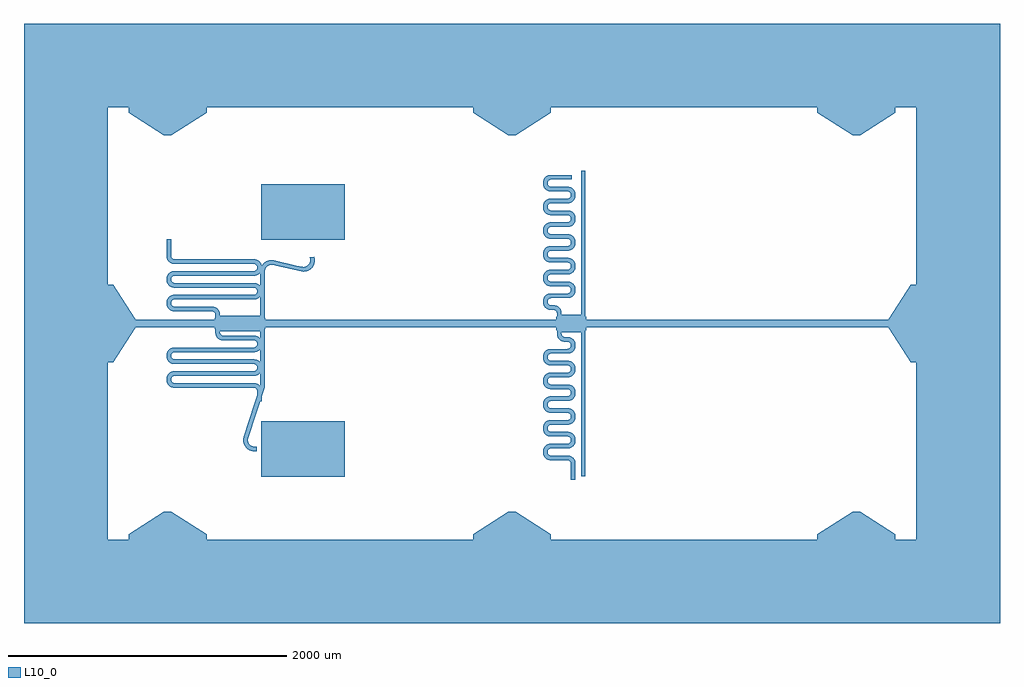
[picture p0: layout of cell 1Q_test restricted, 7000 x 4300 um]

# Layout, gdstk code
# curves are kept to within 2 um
import gdstk
lib = gdstk.Library(unit=1e-6, precision=1e-09)
def R(c, l, rs):  # rectangles x0, y0, x1, y1
    for r in rs: c.add(gdstk.rectangle(r[:2], r[2:], *l))
def P(c, l, *ps):  # polygons
    for p in ps: c.add(gdstk.Polygon(p, *l))
L10_0 = (10, 0)

c_1q_test_restricted = lib.new_cell('1Q_test restricted')
R(c_1q_test_restricted, L10_0, [(3923,1028,3955,1058), (3923,1028,3955,1058), (1700,1050,2300,1450), (1700,1050,2300,1450), (1700,1050,2300,1450), (3995,1056,4027,1086), (3995,1056,4027,1086), (3995,1086,4027,2086), (3995,1086,4027,2086), (1673,1594,1705,1624), (1673,1594,1705,1624), (3850,2086,4000,2214), (3850,2086,4000,2214), (1400,2096,1700,2204), (1400,2096,1700,2204), (3818,2101,3828,2199), (3818,2101,3828,2199), (4022,2101,4032,2199), (4022,2101,4032,2199), (1368,2111,1378,2189), (1368,2111,1378,2189), (1722,2111,1732,2189), (1722,2111,1732,2189), (800,2123,1368,2177), (800,2123,1368,2177), (1732,2123,3818,2177), (1732,2123,3818,2177), (4032,2123,6200,2177), (4032,2123,6200,2177), (3995,2214,4027,3214), (3995,2214,4027,3214), (1023,2726,1055,2756), (1023,2726,1055,2756), (1700,2750,2300,3150), (1700,2750,2300,3150), (1700,2750,2300,3150), (3898.867,3183,3928.867,3215), (3898.867,3183,3928.867,3215), (3995,3214,4027,3244), (3995,3214,4027,3244)])
P(c_1q_test_restricted, L10_0, [(7000,0),(7000,4300),(0,4300),(0,1871),(132,1871),(132,2429),(600,2429),(600,3700),(751,3700),(751,4168),(1309,4168),(1309,3700),(3221,3700),(3221,4168),(3779,4168),(3779,3700),(5691,3700),(5691,4168),(6249,4168),(6249,3700),(6400,3700),(6400,2429),(6868,2429),(6868,1871),(6400,1871),(6400,600),(6249,600),(6249,132),(5691,132),(5691,600),(3779,600),(3779,132),(3221,132),(3221,600),(1309,600),(1309,132),(751,132),(751,600),(600,600),(600,1871),(132,1871),(0,1871),(0,0)],
  [(800,2123),(800,2177),(640,2429),(132,2429),(132,1871),(640,1871)],
  [(6200,2177),(6200,2123),(6360,1871),(6868,1871),(6868,2429),(6360,2429)],
  [(1057,800),(1003,800),(751,640),(751,132),(1309,132),(1309,640)],
  [(1003,3500),(1057,3500),(1309,3660),(1309,4168),(751,4168),(751,3660)],
  [(3527,800),(3473,800),(3221,640),(3221,132),(3779,132),(3779,640)],
  [(3473,3500),(3527,3500),(3779,3660),(3779,4168),(3221,4168),(3221,3660)],
  [(5997,800),(5943,800),(5691,640),(5691,132),(6249,132),(6249,640)],
  [(5943,3500),(5997,3500),(6249,3660),(6249,4168),(5691,4168),(5691,3660)],
  [(7000,0),(7000,4300),(0,4300),(0,1871),(132,1871),(132,2429),(600,2429),(600,3700),(751,3700),(751,4168),(1309,4168),(1309,3700),(3221,3700),(3221,4168),(3779,4168),(3779,3700),(5691,3700),(5691,4168),(6249,4168),(6249,3700),(6400,3700),(6400,2429),(6868,2429),(6868,1871),(6400,1871),(6400,600),(6249,600),(6249,132),(5691,132),(5691,600),(3779,600),(3779,132),(3221,132),(3221,600),(1309,600),(1309,132),(751,132),(751,600),(600,600),(600,1871),(132,1871),(0,1871),(0,0)],
  [(800,2123),(800,2177),(640,2429),(132,2429),(132,1871),(640,1871)],
  [(6200,2177),(6200,2123),(6360,1871),(6868,1871),(6868,2429),(6360,2429)],
  [(1057,800),(1003,800),(751,640),(751,132),(1309,132),(1309,640)],
  [(1003,3500),(1057,3500),(1309,3660),(1309,4168),(751,4168),(751,3660)],
  [(3527,800),(3473,800),(3221,640),(3221,132),(3779,132),(3779,640)],
  [(3473,3500),(3527,3500),(3779,3660),(3779,4168),(3221,4168),(3221,3660)],
  [(5997,800),(5943,800),(5691,640),(5691,132),(6249,132),(6249,640)],
  [(5943,3500),(5997,3500),(6249,3660),(6249,4168),(5691,4168),(5691,3660)],
  [(1373,2204),(1373,2172),(1378,2172),(1378,2128),(1373,2128),(1373,2096),(1400,2096),(1400,2204)],
  [(1727,2096),(1727,2128),(1722,2128),(1722,2172),(1727,2172),(1727,2204),(1700,2204),(1700,2096)],
  [(1057.137,1906.113),(1055,1916.134),(1057.137,1972.558),(1044.293,1964.951),(1032.829,1952.694),(1025.512,1937.592),(1023,1921.134),(1024.523,1903.018),(1030.816,1887.46),(1042.843,1873.234),(1057.137,1864.442)],
  [(1057.137,1736.113),(1055,1746.134),(1057.137,1802.558),(1044.293,1794.951),(1032.829,1782.694),(1025.512,1767.592),(1023,1751.134),(1024.523,1733.018),(1030.816,1717.46),(1042.843,1703.234),(1057.137,1694.442)],
  [(1373.029,2096),(1373,2096),(1373,2085.866),(1373.029,2084.129)],
  [(1057.582,1931.823),(1066.087,1941.228),(1078.198,1944.984),(1373.029,1945),(1373.029,1977),(1071.536,1976.503),(1057.137,1972.558)],
  [(1373.029,1892),(1078.198,1892.016),(1065.419,1896.215),(1057.137,1906.113),(1057.137,1864.442),(1078.866,1860),(1373.029,1860)],
  [(1057.582,1761.823),(1066.087,1771.228),(1078.198,1774.984),(1373.029,1775),(1373.029,1807),(1071.536,1806.503),(1057.137,1802.558)],
  [(1373.029,1722),(1078.198,1722.016),(1065.419,1726.215),(1057.137,1736.113),(1057.137,1694.442),(1078.866,1690),(1373.029,1690)],
  [(1659.101,2061.076),(1425.801,2062.216),(1416.087,2065.772),(1408.772,2073.087),(1405,2096),(1373.029,2096),(1374.523,2073.018),(1383.914,2052.781),(1400.46,2037.816),(1421.536,2030.497),(1648.866,2030),(1659.101,2027.768)],
  [(1649.134,1945),(1659.101,1945.924),(1659.101,1979.232),(1648.866,1977),(1373.029,1977),(1373.029,1945)],
  [(1659.101,1891.076),(1373.029,1892),(1373.029,1860),(1648.866,1860),(1659.101,1857.768)],
  [(1649.134,1775),(1659.101,1775.924),(1659.101,1809.232),(1648.866,1807),(1373.029,1807),(1373.029,1775)],
  [(1659.101,1721.076),(1373.029,1722),(1373.029,1690),(1648.866,1690),(1659.101,1687.768)],
  [(1672.877,2056.652),(1659.101,2061.076),(1659.101,2027.768),(1668.32,2020.235),(1672.877,2008.402)],
  [(1660.155,1946.12),(1672.877,1950.348),(1672.877,1998.598),(1668.32,1986.765),(1659.101,1979.232),(1659.101,1945.924)],
  [(1672.877,1886.652),(1659.101,1891.076),(1659.101,1857.768),(1668.32,1850.235),(1672.877,1838.402)],
  [(1660.155,1776.12),(1672.877,1780.348),(1672.877,1828.598),(1668.32,1816.765),(1659.101,1809.232),(1659.101,1775.924)],
  [(1672.877,1716.652),(1659.101,1721.076),(1659.101,1687.768),(1668.32,1680.235),(1672.877,1668.402)],
  [(1674.258,1951.017),(1687.932,1960.744),(1698.111,1974.086),(1703.88,1989.845),(1705,2006.134),(1702.488,2022.592),(1696.204,2036.134),(1686.565,2047.534),(1672.877,2056.652)],
  [(1674.258,1781.017),(1687.932,1790.744),(1698.111,1804.086),(1703.88,1819.845),(1705,1836.134),(1702.488,1852.592),(1696.204,1866.134),(1686.565,1877.534),(1672.877,1886.652)],
  [(1705,1666.134),(1702.488,1682.592),(1696.204,1696.134),(1686.565,1707.534),(1672.877,1716.652),(1673,1624),(1705,1624)],
  [(1055.123,2631.598),(1055,2726),(1023,2726),(1023.029,2632.129),(1026.096,2615.63),(1037.466,2596.435),(1055.123,2583.348)],
  [(1055.123,2461.598),(1055.123,2519.652),(1041.435,2510.534),(1031.796,2499.134),(1025.512,2485.592),(1023,2469.134),(1024.523,2451.018),(1030.816,2435.46),(1041.435,2422.466),(1055.123,2413.348)],
  [(1055.123,2291.598),(1055.123,2349.652),(1041.435,2340.534),(1031.796,2329.134),(1025.512,2315.592),(1023,2299.134),(1024.523,2281.018),(1030.816,2265.46),(1041.435,2252.466),(1055.123,2243.348)],
  [(1068.899,2612.232),(1059.68,2619.765),(1055.123,2631.598),(1055.123,2583.348),(1068.899,2578.924)],
  [(1055.216,2472.199),(1059.68,2483.235),(1068.899,2490.768),(1068.899,2524.076),(1055.123,2519.652)],
  [(1068.899,2442.232),(1059.68,2449.765),(1055.123,2461.598),(1055.123,2413.348),(1068.899,2408.924)],
  [(1055.216,2302.199),(1059.68,2313.235),(1068.899,2320.768),(1068.899,2354.076),(1055.123,2349.652)],
  [(1068.899,2272.232),(1059.68,2279.765),(1055.123,2291.598),(1055.123,2243.348),(1068.899,2238.924)],
  [(1405,2610),(1079.134,2610),(1068.899,2612.232),(1068.899,2578.924),(1405,2578)],
  [(1070.375,2491.394),(1405,2493),(1405,2525),(1073.394,2524.721),(1068.899,2524.076)],
  [(1405,2440),(1079.134,2440),(1068.899,2442.232),(1068.899,2408.924),(1405,2408)],
  [(1070.375,2321.394),(1405,2323),(1405,2355),(1073.394,2354.721),(1068.899,2354.076)],
  [(1405,2214.134),(1401.26,2234.128),(1391.766,2250.157),(1375.914,2263.111),(1358.315,2269.222),(1079.134,2270),(1068.899,2272.232),(1069.685,2238.778),(1350.603,2237.944),(1361.23,2234.648),(1369.228,2226.913),(1373,2204),(1405,2204)],
  [(1670.863,2605.558),(1650.871,2609.971),(1405,2610),(1405,2578),(1650.603,2577.944),(1662.581,2573.785),(1670.863,2563.887)],
  [(1649.134,2493),(1670.863,2497.442),(1670.863,2539.113),(1662.581,2529.215),(1650.603,2525.056),(1405,2525),(1405,2493)],
  [(1670.863,2435.558),(1650.871,2439.971),(1405,2440),(1405,2408),(1650.603,2407.944),(1662.581,2403.785),(1670.863,2393.887)],
  [(1649.134,2323),(1670.863,2327.442),(1670.863,2369.113),(1662.581,2359.215),(1650.603,2355.056),(1405,2355),(1405,2323)],
  [(1672.573,2498.201),(1686.565,2507.466),(1697.184,2520.46),(1703.477,2536.018),(1705,2554.134),(1702.488,2570.592),(1695.171,2585.694),(1683.707,2597.951),(1670.863,2605.558)],
  [(1672.573,2328.201),(1686.565,2337.466),(1697.184,2350.46),(1703.477,2366.018),(1705,2384.134),(1702.488,2400.592),(1695.171,2415.694),(1683.707,2427.951),(1670.863,2435.558)],
  [(1727,2096),(1695,2096),(1694.023,1696.614),(1576.89,1338.846),(1573.22,1320.782),(1576.336,1290.914),(1591.714,1262.499),(1615.016,1243.555),(1645.972,1234.302),(1670,1234),(1670,1266),(1643.242,1266.99),(1623.2,1276.321),(1608.893,1294.915),(1605.109,1318.069),(1726.171,1694.741)],
  [(1727,2523.715),(1733.367,2547.717),(1750.799,2565.281),(1706.579,2565.281),(1699.017,2548.869),(1695.3,2530.767),(1695,2204),(1727,2204)],
  [(2008.012,2522.879),(2028.475,2526.324),(2047.363,2534.915),(2063.406,2548.076),(2075.713,2565.281),(2034.976,2565.281),(2020.434,2557.352),(2005.45,2554.83),(1953.671,2565.281),(1809.213,2565.281),(1987.465,2524.788)],
  [(2076.591,2566.972),(2084.931,2598.02),(2081.242,2629.757),(2049.88,2623.399),(2052.998,2605.489),(2051.429,2590.375),(2045.214,2576.509),(2034.976,2565.281)],
  [(1792.609,2601.869),(1767.416,2603.472),(1742.871,2597.097),(1721.555,2583.361),(1706.579,2565.281),(1750.799,2565.281),(1774.61,2571.827),(1809.213,2565.281),(1953.671,2565.281)],
  [(3823,2214),(3823,2182),(3828,2182),(3828,2118),(3823,2118),(3823,2086),(3850,2086),(3850,2214)],
  [(4027,2086),(4027,2118),(4022,2118),(4022,2182),(4027,2182),(4027,2214),(4000,2214),(4000,2086)],
  [(3955,1146.134),(3951.904,1164.37),(3944.086,1179.219),(3932.219,1191.086),(3917.37,1198.904),(3900.871,1201.971),(3775.801,1202.216),(3761.202,1209.903),(3755.016,1225.198),(3723.011,1225.198),(3726.096,1207.63),(3733.914,1192.781),(3747.306,1179.829),(3762.408,1172.512),(3777.129,1170.029),(3900.603,1169.944),(3914.494,1164.326),(3922.944,1147.603),(3923,1058),(3955,1058)],
  [(3755,1226.134),(3759.215,1244.581),(3774.22,1254.517),(3900.871,1255.029),(3920.863,1259.442),(3933.707,1267.049),(3945.171,1279.306),(3952.488,1294.408),(3954.989,1310.198),(3922.984,1310.198),(3916.798,1294.903),(3902.199,1287.216),(3777.129,1286.971),(3757.137,1282.558),(3744.293,1274.951),(3732.829,1262.694),(3726.096,1249.37),(3723.029,1232.871),(3723.011,1225.198)],
  [(3955,1310.866),(3953.477,1328.982),(3946.204,1346.134),(3933.707,1359.951),(3919.128,1368.26),(3900.871,1371.971),(3775.801,1372.216),(3761.202,1379.903),(3755.005,1395.866),(3723,1395.866),(3725.512,1379.408),(3732.829,1364.306),(3744.293,1352.049),(3758.872,1343.74),(3777.129,1340.029),(3902.992,1339.663),(3918.785,1329.581),(3922.984,1310.198)],
  [(3755,1396.134),(3759.215,1414.581),(3774.22,1424.517),(3900.871,1425.029),(3920.863,1429.442),(3933.707,1437.049),(3945.171,1449.306),(3952.488,1464.408),(3955,1480.866),(3922.995,1480.866),(3916.798,1464.903),(3902.199,1457.216),(3777.129,1456.971),(3757.137,1452.558),(3744.293,1444.951),(3732.829,1432.694),(3726.096,1419.37),(3723.029,1402.871),(3723,1395.866)],
  [(3955,1486.134),(3951.904,1504.37),(3944.086,1519.219),(3932.219,1531.086),(3917.37,1538.904),(3900.871,1541.971),(3775.801,1542.216),(3760.674,1550.506),(3755,1566.134),(3723,1566.134),(3725.512,1549.408),(3732.829,1534.306),(3744.293,1522.049),(3760.63,1513.096),(3777.129,1510.029),(3902.199,1509.784),(3918.32,1500.235),(3922.995,1480.866),(3955,1480.866)],
  [(3755,1570.866),(3760.674,1586.494),(3775.008,1594.663),(3900.871,1595.029),(3919.128,1598.74),(3933.707,1607.049),(3945.171,1619.306),(3952.488,1634.408),(3955,1651.134),(3923,1651.134),(3917.326,1635.506),(3902.199,1627.216),(3777.129,1626.971),(3758.872,1623.26),(3744.293,1614.951),(3733.914,1604.219),(3726.096,1589.37),(3723.123,1574.741),(3723,1566.134),(3755,1566.134)],
  [(3955,1656.134),(3951.904,1674.37),(3944.086,1689.219),(3932.219,1701.086),(3917.37,1708.904),(3900.871,1711.971),(3775.008,1712.337),(3759.215,1722.419),(3755,1740.866),(3723,1740.866),(3724.523,1723.018),(3731.796,1705.866),(3744.293,1692.049),(3760.63,1683.096),(3777.129,1680.029),(3902.199,1679.784),(3918.32,1670.235),(3923,1651.134),(3955,1651.134)],
  [(3755.016,1741.802),(3760.674,1756.494),(3775.008,1764.663),(3900.871,1765.029),(3920.863,1769.442),(3935.157,1778.234),(3947.184,1792.46),(3953.477,1808.018),(3955,1825.866),(3923,1825.866),(3918.785,1807.419),(3902.992,1797.337),(3777.129,1796.971),(3757.137,1792.558),(3744.293,1784.951),(3732.829,1772.694),(3726.096,1759.37),(3723.029,1742.871),(3723,1740.866)],
  [(3955,1826.134),(3952.488,1842.592),(3945.171,1857.694),(3933.707,1869.951),(3919.128,1878.26),(3900.871,1881.971),(3775.008,1882.337),(3759.215,1892.419),(3755.005,1911.134),(3723,1911.134),(3724.523,1893.018),(3731.796,1875.866),(3744.293,1862.049),(3758.872,1853.74),(3777.129,1850.029),(3902.199,1849.784),(3917.326,1841.494),(3923,1825.866)],
  [(3755.016,1911.802),(3760.674,1926.494),(3775.008,1934.663),(3900.871,1935.029),(3920.863,1939.442),(3935.157,1948.234),(3947.184,1962.46),(3953.477,1978.018),(3955,1996.134),(3922.995,1996.134),(3918.785,1977.419),(3902.992,1967.337),(3777.129,1966.971),(3757.137,1962.558),(3744.293,1954.951),(3732.829,1942.694),(3726.096,1929.37),(3723.029,1912.871)],
  [(3954.971,1997.871),(3948.111,2022.914),(3930.694,2042.171),(3910.155,2050.88),(3869.632,2053.906),(3857.232,2065.899),(3855,2086),(3823,2086),(3827.442,2054.137),(3835.049,2041.293),(3847.306,2029.829),(3867.845,2021.12),(3909.101,2017.768),(3919.228,2008.913),(3922.995,1996.134)],
  [(3855,2224.134),(3847.184,2252.54),(3827.54,2272.184),(3808.315,2279.222),(3770.375,2281.606),(3760.674,2288.506),(3755.337,2300.008),(3723.144,2300.008),(3729.017,2278.742),(3742.843,2261.234),(3766.018,2249.523),(3801.402,2247.877),(3811.23,2244.648),(3821.394,2232.625),(3823,2214),(3855,2214)],
  [(3755.216,2300.801),(3758.352,2321.23),(3764.765,2328.32),(3774.22,2332.517),(3900.871,2333.029),(3919.128,2336.74),(3942.951,2354.293),(3954.327,2380.375),(3921.394,2380.375),(3913.235,2369.68),(3901.402,2365.123),(3777.129,2364.971),(3758.872,2361.26),(3744.293,2352.951),(3733.914,2342.219),(3726.096,2327.37),(3723.123,2312.741),(3723.144,2300.008)],
  [(3954.503,2381.536),(3954.222,2403.315),(3948.111,2420.914),(3935.157,2436.766),(3917.37,2446.904),(3900.871,2449.971),(3777.397,2450.056),(3766.087,2453.772),(3758.352,2461.77),(3724.357,2461.77),(3737.466,2436.435),(3760.63,2421.096),(3777.129,2418.029),(3903.78,2417.517),(3913.873,2412.833),(3920.768,2404.101),(3921.394,2380.375)],
  [(3757.955,2462.467),(3755.056,2472.397),(3756.08,2486.11),(3761.202,2495.097),(3769.632,2501.094),(3911.982,2504.523),(3937.932,2518.744),(3952.632,2542.903),(3916.798,2542.903),(3900.603,2535.056),(3777.129,2534.971),(3757.137,2530.558),(3742.843,2521.766),(3730.816,2507.54),(3724.523,2491.982),(3723,2473.866),(3724.357,2461.77)],
  [(3953.012,2544.204),(3954.721,2569.606),(3948.983,2589.258),(3935.157,2606.766),(3917.37,2616.904),(3900.871,2619.971),(3778.198,2620.016),(3764.127,2625.167),(3726.266,2625.167),(3742.843,2601.234),(3767.845,2589.12),(3906.872,2586.67),(3916.798,2580.097),(3922.344,2569.563),(3922.517,2554.22),(3916.798,2542.903)],
  [(3763.506,2625.674),(3756.08,2636.89),(3755.216,2652.199),(3759.68,2663.235),(3769.632,2671.094),(3910.155,2674.12),(3935.157,2686.234),(3950.596,2707.232),(3777.129,2704.971),(3757.137,2700.558),(3741.435,2690.534),(3729.889,2675.914),(3723.778,2658.315),(3723.279,2638.394),(3726.266,2625.167)],
  [(3951.26,2708.872),(3955,2734.134),(3950.558,2755.863),(3937.932,2774.256),(3919.128,2786.26),(3900.871,2789.971),(3728.099,2790.656),(3744.293,2770.049),(3767.845,2759.12),(3906.872,2756.67),(3918.32,2748.235),(3922.984,2734.802),(3920.418,2718.177),(3909.101,2707.232)],
  [(3772.66,2790.855),(3760.674,2798.506),(3755.056,2812.397),(3757.582,2829.823),(3768.899,2840.768),(3910.155,2844.12),(3933.707,2855.049),(3949.592,2875),(3777.129,2874.971),(3755.427,2869.799),(3740.068,2859.256),(3728.201,2842.573),(3723.279,2824.606),(3724.12,2802.845),(3728.099,2790.656)],
  [(3949.799,2875.427),(3954.971,2897.129),(3951.26,2924.128),(3939.256,2942.932),(3919.128,2956.26),(3910.155,2958.88),(3728.95,2958.88),(3745.781,2938.914),(3769.685,2928.778),(3907.625,2926.394),(3920.768,2914.101),(3922.663,2895.008),(3914.494,2880.674),(3898.866,2875)],
  [(3908.315,2959.222),(3772.66,2960.855),(3762.903,2966.202),(3756.606,2975.375),(3755.016,2989.802),(3757.232,2999.101),(3764.765,3008.32),(3776.598,3012.877),(3910.155,3014.12),(3932.219,3023.914),(3947.24,3040.558),(3757.137,3040.558),(3736.234,3025.157),(3724.523,3001.982),(3723.279,2978.394),(3728.95,2958.88)],
  [(3948.111,3042.086),(3954.721,3063.394),(3953.012,3088.796),(3942.951,3108.707),(3927.54,3122.184),(3732.916,3122.184),(3748.866,3106.796),(3767.845,3099.12),(3902.199,3097.784),(3914.494,3092.326),(3921.92,3081.11),(3922.944,3067.397),(3920.418,3058.177),(3913.873,3050.167),(3904.563,3045.656),(3777.129,3044.971),(3757.137,3040.558)],
  [(3925.914,3123.111),(3900.871,3129.971),(3775.801,3130.216),(3763.506,3135.674),(3756.08,3146.89),(3757.582,3169.823),(3764.127,3177.833),(3773.437,3182.344),(3898.867,3183),(3898.867,3215),(3766.018,3213.477),(3740.068,3199.256),(3729.889,3185.914),(3724.523,3171.982),(3723.778,3144.685),(3732.916,3122.184)],
  [(7000,0),(7000,4300),(0,4300),(0,1871),(132,1871),(132,2429),(600,2429),(600,3700),(751,3700),(751,4168),(1309,4168),(1309,3700),(3221,3700),(3221,4168),(3779,4168),(3779,3700),(5691,3700),(5691,4168),(6249,4168),(6249,3700),(6400,3700),(6400,2429),(6868,2429),(6868,1871),(6400,1871),(6400,600),(6249,600),(6249,132),(5691,132),(5691,600),(3779,600),(3779,132),(3221,132),(3221,600),(1309,600),(1309,132),(751,132),(751,600),(600,600),(600,1871),(132,1871),(0,1871),(0,0)],
  [(800,2123),(800,2177),(640,2429),(132,2429),(132,1871),(640,1871)],
  [(6200,2177),(6200,2123),(6360,1871),(6868,1871),(6868,2429),(6360,2429)],
  [(1057,800),(1003,800),(751,640),(751,132),(1309,132),(1309,640)],
  [(1003,3500),(1057,3500),(1309,3660),(1309,4168),(751,4168),(751,3660)],
  [(3527,800),(3473,800),(3221,640),(3221,132),(3779,132),(3779,640)],
  [(3473,3500),(3527,3500),(3779,3660),(3779,4168),(3221,4168),(3221,3660)],
  [(5997,800),(5943,800),(5691,640),(5691,132),(6249,132),(6249,640)],
  [(5943,3500),(5997,3500),(6249,3660),(6249,4168),(5691,4168),(5691,3660)],
  [(1373,2204),(1373,2172),(1378,2172),(1378,2128),(1373,2128),(1373,2096),(1400,2096),(1400,2204)],
  [(1727,2096),(1727,2128),(1722,2128),(1722,2172),(1727,2172),(1727,2204),(1700,2204),(1700,2096)],
  [(1057.137,1906.113),(1055,1916.134),(1057.137,1972.558),(1044.293,1964.951),(1032.829,1952.694),(1025.512,1937.592),(1023,1921.134),(1024.523,1903.018),(1030.816,1887.46),(1042.843,1873.234),(1057.137,1864.442)],
  [(1057.137,1736.113),(1055,1746.134),(1057.137,1802.558),(1044.293,1794.951),(1032.829,1782.694),(1025.512,1767.592),(1023,1751.134),(1024.523,1733.018),(1030.816,1717.46),(1042.843,1703.234),(1057.137,1694.442)],
  [(1373.029,2096),(1373,2096),(1373,2085.866),(1373.029,2084.129)],
  [(1057.582,1931.823),(1066.087,1941.228),(1078.198,1944.984),(1373.029,1945),(1373.029,1977),(1071.536,1976.503),(1057.137,1972.558)],
  [(1373.029,1892),(1078.198,1892.016),(1065.419,1896.215),(1057.137,1906.113),(1057.137,1864.442),(1078.866,1860),(1373.029,1860)],
  [(1057.582,1761.823),(1066.087,1771.228),(1078.198,1774.984),(1373.029,1775),(1373.029,1807),(1071.536,1806.503),(1057.137,1802.558)],
  [(1373.029,1722),(1078.198,1722.016),(1065.419,1726.215),(1057.137,1736.113),(1057.137,1694.442),(1078.866,1690),(1373.029,1690)],
  [(1659.101,2061.076),(1425.801,2062.216),(1416.087,2065.772),(1408.772,2073.087),(1405,2096),(1373.029,2096),(1374.523,2073.018),(1383.914,2052.781),(1400.46,2037.816),(1421.536,2030.497),(1648.866,2030),(1659.101,2027.768)],
  [(1649.134,1945),(1659.101,1945.924),(1659.101,1979.232),(1648.866,1977),(1373.029,1977),(1373.029,1945)],
  [(1659.101,1891.076),(1373.029,1892),(1373.029,1860),(1648.866,1860),(1659.101,1857.768)],
  [(1649.134,1775),(1659.101,1775.924),(1659.101,1809.232),(1648.866,1807),(1373.029,1807),(1373.029,1775)],
  [(1659.101,1721.076),(1373.029,1722),(1373.029,1690),(1648.866,1690),(1659.101,1687.768)],
  [(1672.877,2056.652),(1659.101,2061.076),(1659.101,2027.768),(1668.32,2020.235),(1672.877,2008.402)],
  [(1660.155,1946.12),(1672.877,1950.348),(1672.877,1998.598),(1668.32,1986.765),(1659.101,1979.232),(1659.101,1945.924)],
  [(1672.877,1886.652),(1659.101,1891.076),(1659.101,1857.768),(1668.32,1850.235),(1672.877,1838.402)],
  [(1660.155,1776.12),(1672.877,1780.348),(1672.877,1828.598),(1668.32,1816.765),(1659.101,1809.232),(1659.101,1775.924)],
  [(1672.877,1716.652),(1659.101,1721.076),(1659.101,1687.768),(1668.32,1680.235),(1672.877,1668.402)],
  [(1674.258,1951.017),(1687.932,1960.744),(1698.111,1974.086),(1703.88,1989.845),(1705,2006.134),(1702.488,2022.592),(1696.204,2036.134),(1686.565,2047.534),(1672.877,2056.652)],
  [(1674.258,1781.017),(1687.932,1790.744),(1698.111,1804.086),(1703.88,1819.845),(1705,1836.134),(1702.488,1852.592),(1696.204,1866.134),(1686.565,1877.534),(1672.877,1886.652)],
  [(1705,1666.134),(1702.488,1682.592),(1696.204,1696.134),(1686.565,1707.534),(1672.877,1716.652),(1673,1624),(1705,1624)],
  [(1055.123,2631.598),(1055,2726),(1023,2726),(1023.029,2632.129),(1026.096,2615.63),(1037.466,2596.435),(1055.123,2583.348)],
  [(1055.123,2461.598),(1055.123,2519.652),(1041.435,2510.534),(1031.796,2499.134),(1025.512,2485.592),(1023,2469.134),(1024.523,2451.018),(1030.816,2435.46),(1041.435,2422.466),(1055.123,2413.348)],
  [(1055.123,2291.598),(1055.123,2349.652),(1041.435,2340.534),(1031.796,2329.134),(1025.512,2315.592),(1023,2299.134),(1024.523,2281.018),(1030.816,2265.46),(1041.435,2252.466),(1055.123,2243.348)],
  [(1068.899,2612.232),(1059.68,2619.765),(1055.123,2631.598),(1055.123,2583.348),(1068.899,2578.924)],
  [(1055.216,2472.199),(1059.68,2483.235),(1068.899,2490.768),(1068.899,2524.076),(1055.123,2519.652)],
  [(1068.899,2442.232),(1059.68,2449.765),(1055.123,2461.598),(1055.123,2413.348),(1068.899,2408.924)],
  [(1055.216,2302.199),(1059.68,2313.235),(1068.899,2320.768),(1068.899,2354.076),(1055.123,2349.652)],
  [(1068.899,2272.232),(1059.68,2279.765),(1055.123,2291.598),(1055.123,2243.348),(1068.899,2238.924)],
  [(1405,2610),(1079.134,2610),(1068.899,2612.232),(1068.899,2578.924),(1405,2578)],
  [(1070.375,2491.394),(1405,2493),(1405,2525),(1073.394,2524.721),(1068.899,2524.076)],
  [(1405,2440),(1079.134,2440),(1068.899,2442.232),(1068.899,2408.924),(1405,2408)],
  [(1070.375,2321.394),(1405,2323),(1405,2355),(1073.394,2354.721),(1068.899,2354.076)],
  [(1405,2214.134),(1401.26,2234.128),(1391.766,2250.157),(1375.914,2263.111),(1358.315,2269.222),(1079.134,2270),(1068.899,2272.232),(1069.685,2238.778),(1350.603,2237.944),(1361.23,2234.648),(1369.228,2226.913),(1373,2204),(1405,2204)],
  [(1670.863,2605.558),(1650.871,2609.971),(1405,2610),(1405,2578),(1650.603,2577.944),(1662.581,2573.785),(1670.863,2563.887)],
  [(1649.134,2493),(1670.863,2497.442),(1670.863,2539.113),(1662.581,2529.215),(1650.603,2525.056),(1405,2525),(1405,2493)],
  [(1670.863,2435.558),(1650.871,2439.971),(1405,2440),(1405,2408),(1650.603,2407.944),(1662.581,2403.785),(1670.863,2393.887)],
  [(1649.134,2323),(1670.863,2327.442),(1670.863,2369.113),(1662.581,2359.215),(1650.603,2355.056),(1405,2355),(1405,2323)],
  [(1672.573,2498.201),(1686.565,2507.466),(1697.184,2520.46),(1703.477,2536.018),(1705,2554.134),(1702.488,2570.592),(1695.171,2585.694),(1683.707,2597.951),(1670.863,2605.558)],
  [(1672.573,2328.201),(1686.565,2337.466),(1697.184,2350.46),(1703.477,2366.018),(1705,2384.134),(1702.488,2400.592),(1695.171,2415.694),(1683.707,2427.951),(1670.863,2435.558)],
  [(1727,2096),(1695,2096),(1694.023,1696.614),(1576.89,1338.846),(1573.22,1320.782),(1576.336,1290.914),(1591.714,1262.499),(1615.016,1243.555),(1645.972,1234.302),(1670,1234),(1670,1266),(1643.242,1266.99),(1623.2,1276.321),(1608.893,1294.915),(1605.109,1318.069),(1726.171,1694.741)],
  [(1727,2523.715),(1733.367,2547.717),(1750.799,2565.281),(1706.579,2565.281),(1699.017,2548.869),(1695.3,2530.767),(1695,2204),(1727,2204)],
  [(2008.012,2522.879),(2028.475,2526.324),(2047.363,2534.915),(2063.406,2548.076),(2075.713,2565.281),(2034.976,2565.281),(2020.434,2557.352),(2005.45,2554.83),(1953.671,2565.281),(1809.213,2565.281),(1987.465,2524.788)],
  [(2076.591,2566.972),(2084.931,2598.02),(2081.242,2629.757),(2049.88,2623.399),(2052.998,2605.489),(2051.429,2590.375),(2045.214,2576.509),(2034.976,2565.281)],
  [(1792.609,2601.869),(1767.416,2603.472),(1742.871,2597.097),(1721.555,2583.361),(1706.579,2565.281),(1750.799,2565.281),(1774.61,2571.827),(1809.213,2565.281),(1953.671,2565.281)],
  [(3823,2214),(3823,2182),(3828,2182),(3828,2118),(3823,2118),(3823,2086),(3850,2086),(3850,2214)],
  [(4027,2086),(4027,2118),(4022,2118),(4022,2182),(4027,2182),(4027,2214),(4000,2214),(4000,2086)],
  [(3955,1146.134),(3951.904,1164.37),(3944.086,1179.219),(3932.219,1191.086),(3917.37,1198.904),(3900.871,1201.971),(3775.801,1202.216),(3761.202,1209.903),(3755.016,1225.198),(3723.011,1225.198),(3726.096,1207.63),(3733.914,1192.781),(3747.306,1179.829),(3762.408,1172.512),(3777.129,1170.029),(3900.603,1169.944),(3914.494,1164.326),(3922.944,1147.603),(3923,1058),(3955,1058)],
  [(3755,1226.134),(3759.215,1244.581),(3774.22,1254.517),(3900.871,1255.029),(3920.863,1259.442),(3933.707,1267.049),(3945.171,1279.306),(3952.488,1294.408),(3954.989,1310.198),(3922.984,1310.198),(3916.798,1294.903),(3902.199,1287.216),(3777.129,1286.971),(3757.137,1282.558),(3744.293,1274.951),(3732.829,1262.694),(3726.096,1249.37),(3723.029,1232.871),(3723.011,1225.198)],
  [(3955,1310.866),(3953.477,1328.982),(3946.204,1346.134),(3933.707,1359.951),(3919.128,1368.26),(3900.871,1371.971),(3775.801,1372.216),(3761.202,1379.903),(3755.005,1395.866),(3723,1395.866),(3725.512,1379.408),(3732.829,1364.306),(3744.293,1352.049),(3758.872,1343.74),(3777.129,1340.029),(3902.992,1339.663),(3918.785,1329.581),(3922.984,1310.198)],
  [(3755,1396.134),(3759.215,1414.581),(3774.22,1424.517),(3900.871,1425.029),(3920.863,1429.442),(3933.707,1437.049),(3945.171,1449.306),(3952.488,1464.408),(3955,1480.866),(3922.995,1480.866),(3916.798,1464.903),(3902.199,1457.216),(3777.129,1456.971),(3757.137,1452.558),(3744.293,1444.951),(3732.829,1432.694),(3726.096,1419.37),(3723.029,1402.871),(3723,1395.866)],
  [(3955,1486.134),(3951.904,1504.37),(3944.086,1519.219),(3932.219,1531.086),(3917.37,1538.904),(3900.871,1541.971),(3775.801,1542.216),(3760.674,1550.506),(3755,1566.134),(3723,1566.134),(3725.512,1549.408),(3732.829,1534.306),(3744.293,1522.049),(3760.63,1513.096),(3777.129,1510.029),(3902.199,1509.784),(3918.32,1500.235),(3922.995,1480.866),(3955,1480.866)],
  [(3755,1570.866),(3760.674,1586.494),(3775.008,1594.663),(3900.871,1595.029),(3919.128,1598.74),(3933.707,1607.049),(3945.171,1619.306),(3952.488,1634.408),(3955,1651.134),(3923,1651.134),(3917.326,1635.506),(3902.199,1627.216),(3777.129,1626.971),(3758.872,1623.26),(3744.293,1614.951),(3733.914,1604.219),(3726.096,1589.37),(3723.123,1574.741),(3723,1566.134),(3755,1566.134)],
  [(3955,1656.134),(3951.904,1674.37),(3944.086,1689.219),(3932.219,1701.086),(3917.37,1708.904),(3900.871,1711.971),(3775.008,1712.337),(3759.215,1722.419),(3755,1740.866),(3723,1740.866),(3724.523,1723.018),(3731.796,1705.866),(3744.293,1692.049),(3760.63,1683.096),(3777.129,1680.029),(3902.199,1679.784),(3918.32,1670.235),(3923,1651.134),(3955,1651.134)],
  [(3755.016,1741.802),(3760.674,1756.494),(3775.008,1764.663),(3900.871,1765.029),(3920.863,1769.442),(3935.157,1778.234),(3947.184,1792.46),(3953.477,1808.018),(3955,1825.866),(3923,1825.866),(3918.785,1807.419),(3902.992,1797.337),(3777.129,1796.971),(3757.137,1792.558),(3744.293,1784.951),(3732.829,1772.694),(3726.096,1759.37),(3723.029,1742.871),(3723,1740.866)],
  [(3955,1826.134),(3952.488,1842.592),(3945.171,1857.694),(3933.707,1869.951),(3919.128,1878.26),(3900.871,1881.971),(3775.008,1882.337),(3759.215,1892.419),(3755.005,1911.134),(3723,1911.134),(3724.523,1893.018),(3731.796,1875.866),(3744.293,1862.049),(3758.872,1853.74),(3777.129,1850.029),(3902.199,1849.784),(3917.326,1841.494),(3923,1825.866)],
  [(3755.016,1911.802),(3760.674,1926.494),(3775.008,1934.663),(3900.871,1935.029),(3920.863,1939.442),(3935.157,1948.234),(3947.184,1962.46),(3953.477,1978.018),(3955,1996.134),(3922.995,1996.134),(3918.785,1977.419),(3902.992,1967.337),(3777.129,1966.971),(3757.137,1962.558),(3744.293,1954.951),(3732.829,1942.694),(3726.096,1929.37),(3723.029,1912.871)],
  [(3954.971,1997.871),(3948.111,2022.914),(3930.694,2042.171),(3910.155,2050.88),(3869.632,2053.906),(3857.232,2065.899),(3855,2086),(3823,2086),(3827.442,2054.137),(3835.049,2041.293),(3847.306,2029.829),(3867.845,2021.12),(3909.101,2017.768),(3919.228,2008.913),(3922.995,1996.134)],
  [(3855,2224.134),(3847.184,2252.54),(3827.54,2272.184),(3808.315,2279.222),(3770.375,2281.606),(3760.674,2288.506),(3755.337,2300.008),(3723.144,2300.008),(3729.017,2278.742),(3742.843,2261.234),(3766.018,2249.523),(3801.402,2247.877),(3811.23,2244.648),(3821.394,2232.625),(3823,2214),(3855,2214)],
  [(3755.216,2300.801),(3758.352,2321.23),(3764.765,2328.32),(3774.22,2332.517),(3900.871,2333.029),(3919.128,2336.74),(3942.951,2354.293),(3954.327,2380.375),(3921.394,2380.375),(3913.235,2369.68),(3901.402,2365.123),(3777.129,2364.971),(3758.872,2361.26),(3744.293,2352.951),(3733.914,2342.219),(3726.096,2327.37),(3723.123,2312.741),(3723.144,2300.008)],
  [(3954.503,2381.536),(3954.222,2403.315),(3948.111,2420.914),(3935.157,2436.766),(3917.37,2446.904),(3900.871,2449.971),(3777.397,2450.056),(3766.087,2453.772),(3758.352,2461.77),(3724.357,2461.77),(3737.466,2436.435),(3760.63,2421.096),(3777.129,2418.029),(3903.78,2417.517),(3913.873,2412.833),(3920.768,2404.101),(3921.394,2380.375)],
  [(3757.955,2462.467),(3755.056,2472.397),(3756.08,2486.11),(3761.202,2495.097),(3769.632,2501.094),(3911.982,2504.523),(3937.932,2518.744),(3952.632,2542.903),(3916.798,2542.903),(3900.603,2535.056),(3777.129,2534.971),(3757.137,2530.558),(3742.843,2521.766),(3730.816,2507.54),(3724.523,2491.982),(3723,2473.866),(3724.357,2461.77)],
  [(3953.012,2544.204),(3954.721,2569.606),(3948.983,2589.258),(3935.157,2606.766),(3917.37,2616.904),(3900.871,2619.971),(3778.198,2620.016),(3764.127,2625.167),(3726.266,2625.167),(3742.843,2601.234),(3767.845,2589.12),(3906.872,2586.67),(3916.798,2580.097),(3922.344,2569.563),(3922.517,2554.22),(3916.798,2542.903)],
  [(3763.506,2625.674),(3756.08,2636.89),(3755.216,2652.199),(3759.68,2663.235),(3769.632,2671.094),(3910.155,2674.12),(3935.157,2686.234),(3950.596,2707.232),(3777.129,2704.971),(3757.137,2700.558),(3741.435,2690.534),(3729.889,2675.914),(3723.778,2658.315),(3723.279,2638.394),(3726.266,2625.167)],
  [(3951.26,2708.872),(3955,2734.134),(3950.558,2755.863),(3937.932,2774.256),(3919.128,2786.26),(3900.871,2789.971),(3728.099,2790.656),(3744.293,2770.049),(3767.845,2759.12),(3906.872,2756.67),(3918.32,2748.235),(3922.984,2734.802),(3920.418,2718.177),(3909.101,2707.232)],
  [(3772.66,2790.855),(3760.674,2798.506),(3755.056,2812.397),(3757.582,2829.823),(3768.899,2840.768),(3910.155,2844.12),(3933.707,2855.049),(3949.592,2875),(3777.129,2874.971),(3755.427,2869.799),(3740.068,2859.256),(3728.201,2842.573),(3723.279,2824.606),(3724.12,2802.845),(3728.099,2790.656)],
  [(3949.799,2875.427),(3954.971,2897.129),(3951.26,2924.128),(3939.256,2942.932),(3919.128,2956.26),(3910.155,2958.88),(3728.95,2958.88),(3745.781,2938.914),(3769.685,2928.778),(3907.625,2926.394),(3920.768,2914.101),(3922.663,2895.008),(3914.494,2880.674),(3898.866,2875)],
  [(3908.315,2959.222),(3772.66,2960.855),(3762.903,2966.202),(3756.606,2975.375),(3755.016,2989.802),(3757.232,2999.101),(3764.765,3008.32),(3776.598,3012.877),(3910.155,3014.12),(3932.219,3023.914),(3947.24,3040.558),(3757.137,3040.558),(3736.234,3025.157),(3724.523,3001.982),(3723.279,2978.394),(3728.95,2958.88)],
  [(3948.111,3042.086),(3954.721,3063.394),(3953.012,3088.796),(3942.951,3108.707),(3927.54,3122.184),(3732.916,3122.184),(3748.866,3106.796),(3767.845,3099.12),(3902.199,3097.784),(3914.494,3092.326),(3921.92,3081.11),(3922.944,3067.397),(3920.418,3058.177),(3913.873,3050.167),(3904.563,3045.656),(3777.129,3044.971),(3757.137,3040.558)],
  [(3925.914,3123.111),(3900.871,3129.971),(3775.801,3130.216),(3763.506,3135.674),(3756.08,3146.89),(3757.582,3169.823),(3764.127,3177.833),(3773.437,3182.344),(3898.867,3183),(3898.867,3215),(3766.018,3213.477),(3740.068,3199.256),(3729.889,3185.914),(3724.523,3171.982),(3723.778,3144.685),(3732.916,3122.184)])

lib.write_gds('1Q_test_restricted.gds')
